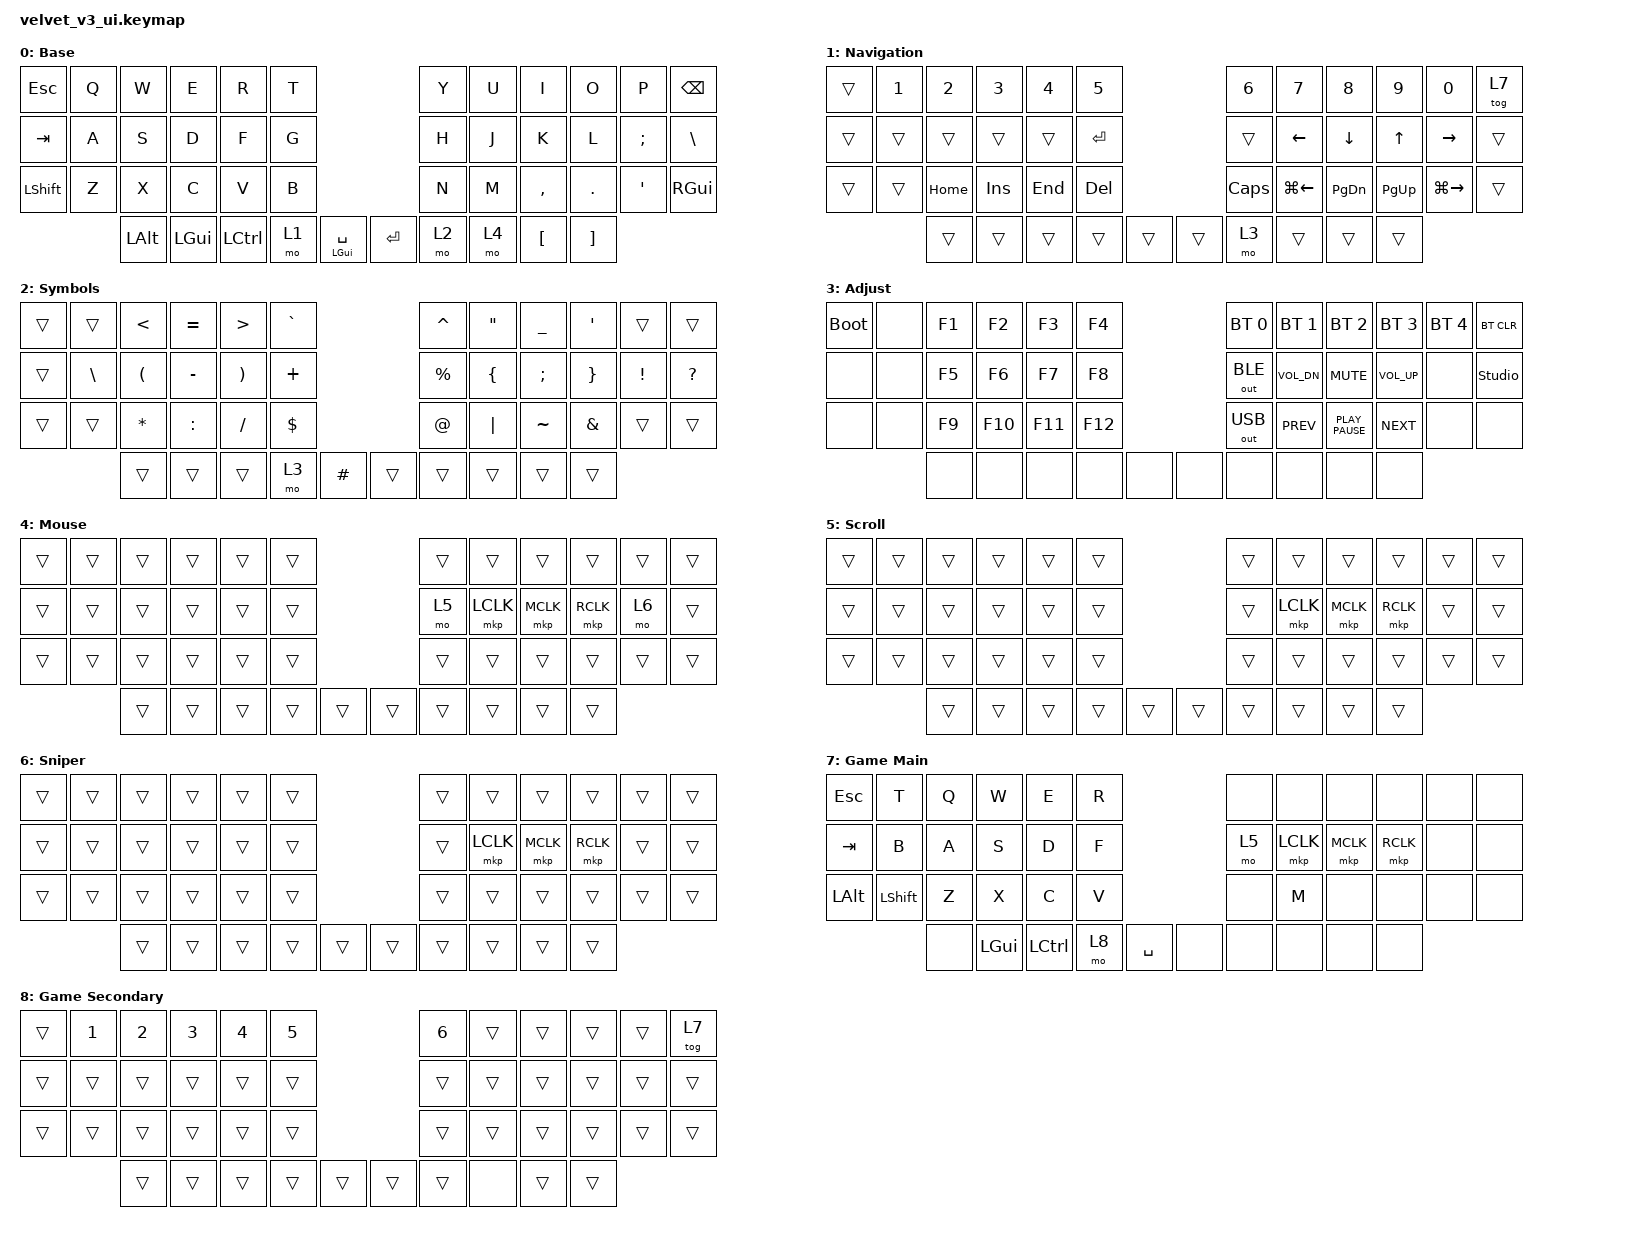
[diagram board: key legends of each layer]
#include <dt-bindings/zmk/input_transform.h>
#include <input/processors.dtsi>
#include <zephyr/dt-bindings/input/input-event-codes.h>
#include <behaviors.dtsi>
#include <dt-bindings/zmk/bt.h>
#include <dt-bindings/zmk/keys.h>
#include <dt-bindings/zmk/outputs.h>
#include <dt-bindings/zmk/pointing.h>

/ {
    behaviors {
        hold_tap_keys: hold_tap_keys {
            compatible = "zmk,behavior-hold-tap";
            label = "HOLD_TAP_KEYS";
            bindings = <&kp>, <&kp>;

            #binding-cells = <2>;
            tapping-term-ms = <250>;
            flavor = "tap-preferred";
        };
    };

    keymap {
        compatible = "zmk,keymap";

        base {
            bindings = <
&kp ESC    &kp Q  &kp W     &kp E         &kp R      &kp T                                            &kp Y  &kp U  &kp I      &kp O     &kp P     &kp BSPC
&kp TAB    &kp A  &kp S     &kp D         &kp F      &kp G                                            &kp H  &kp J  &kp K      &kp L     &kp SEMI  &kp BSLH
&kp LSHFT  &kp Z  &kp X     &kp C         &kp V      &kp B                                            &kp N  &kp M  &kp COMMA  &kp DOT   &kp SQT   &kp RIGHT_GUI
                  &kp LALT  &kp LEFT_GUI  &kp LCTRL  &mo 1  &hold_tap_keys LEFT_GUI SPACE    &kp RET  &mo 2  &mo 4 &kp LBKT   &kp RBKT
            >;

            display-name = "Base";
        };

        nav {
            bindings = <
&trans  &kp N1  &kp N2    &kp N3   &kp N4   &kp N5                     &kp N6    &kp N7        &kp N8         &kp N9       &kp N0         &tog 7
&trans  &trans  &trans    &trans   &trans   &kp RET                    &trans    &kp LEFT      &kp DOWN       &kp UP       &kp RIGHT      &trans
&trans  &trans  &kp HOME  &kp INS  &kp END  &kp DEL                    &kp CLCK  &kp LG(LEFT)  &kp PAGE_DOWN  &kp PAGE_UP  &kp LG(RIGHT)  &trans
                &trans    &trans   &trans   &trans   &trans    &trans  &mo 3     &trans        &trans         &trans
            >;

            display-name = "Navigation";
        };

        sym {
            bindings = <
&trans  &trans    &kp LT    &kp EQUAL  &kp GT    &kp GRAVE                      &kp CARET  &kp DQT   &kp UNDER  &kp SQT   &trans    &trans
&trans  &kp BSLH  &kp LPAR  &kp MINUS  &kp RPAR  &kp PLUS                       &kp PRCNT  &kp LBRC  &kp SEMI   &kp RBRC  &kp EXCL  &kp QUESTION
&trans  &trans    &kp STAR  &kp COLON  &kp FSLH  &kp DLLR                       &kp AT     &kp PIPE  &kp TILDE  &kp AMPS  &trans    &trans
                  &trans    &trans     &trans    &mo 3      &kp HASH    &trans  &trans     &trans    &trans     &trans
            >;

            display-name = "Symbols";
        };

        adj {
            bindings = <
&bootloader  &none  &kp F1  &kp F2   &kp F3   &kp F4                   &bt BT_SEL 0  &bt BT_SEL 1  &bt BT_SEL 2      &bt BT_SEL 3  &bt BT_SEL 4  &bt BT_CLR
&none        &none  &kp F5  &kp F6   &kp F7   &kp F8                   &out OUT_BLE  &kp C_VOL_DN  &kp K_MUTE        &kp C_VOL_UP  &none         &studio_unlock
&none        &none  &kp F9  &kp F10  &kp F11  &kp F12                  &out OUT_USB  &kp K_PREV    &kp K_PLAY_PAUSE  &kp K_NEXT    &none         &none
                    &none   &none    &none    &none    &none    &none  &none         &none         &none             &none
            >;

            display-name = "Adjust";
        };

        mouse {
            bindings = <
&trans  &trans  &trans  &trans  &trans  &trans                    &trans  &trans     &trans     &trans     &trans  &trans
&trans  &trans  &trans  &trans  &trans  &trans                    &mo 5   &mkp LCLK  &mkp MCLK  &mkp RCLK  &mo 6   &trans
&trans  &trans  &trans  &trans  &trans  &trans                    &trans  &trans     &trans     &trans     &trans  &trans
                &trans  &trans  &trans  &trans  &trans    &trans  &trans  &trans     &trans     &trans
            >;

            display-name = "Mouse";
        };

        scroll {
            bindings = <
&trans  &trans  &trans  &trans  &trans  &trans                    &trans  &trans  &trans  &trans  &trans  &trans
&trans  &trans  &trans  &trans  &trans  &trans                    &trans  &mkp LCLK  &mkp MCLK  &mkp RCLK &trans  &trans
&trans  &trans  &trans  &trans  &trans  &trans                    &trans  &trans  &trans  &trans  &trans  &trans
                &trans  &trans  &trans  &trans  &trans    &trans  &trans  &trans  &trans  &trans
            >;

            display-name = "Scroll";
        };

        sniper {
            bindings = <
&trans  &trans  &trans  &trans  &trans  &trans                    &trans  &trans    &trans    &trans    &trans  &trans
&trans  &trans  &trans  &trans  &trans  &trans                    &trans  &mkp LCLK  &mkp MCLK  &mkp RCLK &trans  &trans
&trans  &trans  &trans  &trans  &trans  &trans                    &trans  &trans    &trans    &trans    &trans  &trans
                &trans  &trans  &trans  &trans  &trans    &trans  &trans  &trans    &trans    &trans
            >;

            display-name = "Sniper";
        };

        game_main {
            bindings = <
&kp ESCAPE    &kp T           &kp Q  &kp W         &kp E      &kp R                      &none  &none      &none      &none      &none  &none
&kp TAB       &kp B           &kp A  &kp S         &kp D      &kp F                      &mo 5  &mkp LCLK  &mkp MCLK  &mkp RCLK  &none  &none
&kp LEFT_ALT  &kp LEFT_SHIFT  &kp Z  &kp X         &kp C      &kp V                      &none  &kp M      &none      &none      &none  &none
                              &none  &kp LEFT_GUI  &kp LCTRL  &mo 8  &kp SPACE    &none  &none  &none      &none      &none
            >;

            display-name = "Game Main";
        };

        game_secondary {
            bindings = <
&trans  &kp N1  &kp N2  &kp N3  &kp N4  &kp N5                    &kp N6  &trans  &trans  &trans  &trans  &tog 7
&trans  &trans  &trans  &trans  &trans  &trans                    &trans  &trans  &trans  &trans  &trans  &trans
&trans  &trans  &trans  &trans  &trans  &trans                    &trans  &trans  &trans  &trans  &trans  &trans
                &trans  &trans  &trans  &trans  &trans    &trans  &trans  &none   &trans  &trans
            >;

            display-name = "Game Secondary";
        };
    };
};

&trackball { cpi = <1000>; };

&trackball_listener {
    input-processors = <&zip_xy_scaler 1 3>;

    scroller {
        layers = <5>;
        input-processors =
            <&zip_xy_transform INPUT_TRANSFORM_Y_INVERT>,
            <&zip_xy_scaler 1 32>,
            <&zip_xy_to_scroll_mapper>;
    };

    sniper {
        layers = <6>;
        input-processors = <&zip_xy_scaler 1 6>;
    };
};
